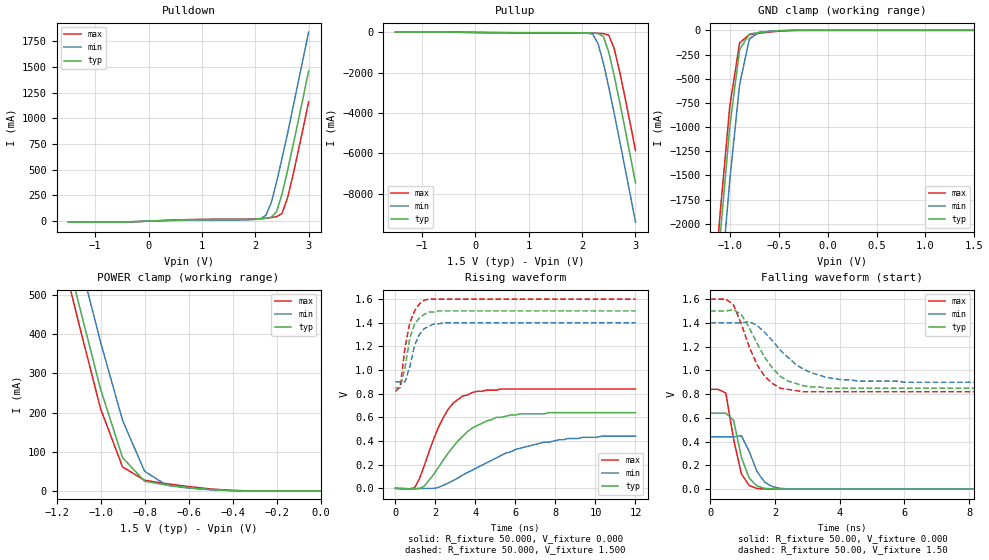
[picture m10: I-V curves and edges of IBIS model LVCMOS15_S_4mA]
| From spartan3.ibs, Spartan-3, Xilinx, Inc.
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|   Model LVCMOS15_S_4mA
[Model]   LVCMOS15_S_4mA
Model_type   I/O
Polarity   Non-Inverting
Enable   Active-Low
Vinl =   0.45V
Vinh =   1.05V
Vmeas =   0.90V
Cref =  0.000F
Rref =   1.00M
Vref =  0.000V
C_comp   6.38pF   4.60pF   8.23pF
[Temperature Range]   25.00   85.00   0.000
[Voltage Range]   1.50V   1.40V   1.60V
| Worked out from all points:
|   slope of the pulldown table from 0 to 0.225 V, typ, clamps not added: 50.3 ohm
|   slope of the pullup table from 0 to 0.225 V, typ, clamps not added: 42.2 ohm
|   GND clamp passes 1 mA (typ) near -0.39 V on its own axis
|   POWER clamp passes 1 mA (typ) near -0.41 V on its own axis
|   rising waveform, R_fixture 50.000, V_fixture 0.000: 20-80 % time 1.91ns typ, 3.44ns min, 1.26ns max; typ from 0 V to 0.64 V
|   rising waveform, R_fixture 50.000, V_fixture 1.500: 20-80 % time 496ps typ, 535ps min, 501ps max; typ from 0.85 V to 1.5 V
|   falling waveform, R_fixture 50.00, V_fixture 0.000: 20-80 % time 382ps typ, 463ps min, 364ps max; typ from 0.64 V to 0 V
|   falling waveform, R_fixture 50.00, V_fixture 1.50: 20-80 % time 879ps typ, 1.21ns min, 739ps max; typ from 1.5 V to 0.85 V
[Pulldown]
| voltage   I(typ)   I(min)   I(max)
-1.5V     -9.68mA    -7.44mA    -10.45mA
-400mV    -7.9mA     -6.07mA    -8.81mA
700mV     11.7mA     8.64mA     14.15mA
1.8V      15.66mA    11.96mA    19.33mA
2.1V      22.46mA    24.09mA    22.57mA
2.2V      28.45mA    56.11mA    27.79mA
2.3V      37.53mA    180mA      34.65mA
2.4V      92.3mA     380mA      43.03mA
2.5V      260mA      610mA      73.32mA
2.6V      480mA      840mA      220mA
2.7V      720mA      1.09A      430mA
3V        1.46A      1.84A      1.16A
[Pullup]
| voltage   I(typ)   I(min)   I(max)
-1.5V     15.79mA    11.59mA    18.27mA
1.9V      -16.08mA   -13.32mA   -22.04mA
2.1V      -25.43mA   -28.54mA   -27.32mA
2.2V      -34.52mA   -93.6mA    -35.54mA
2.3V      -49.83mA   -570mA     -46.31mA
2.4V      -210mA     -1.54A     -59.78mA
2.5V      -990mA     -2.73A     -140mA
2.6V      -2.14A     -4.01A     -800mA
2.7V      -3.41A     -5.33A     -1.91A
2.8V      -4.74A     -6.68A     -3.18A
3V        -7.47A     -9.42A     -5.86A
[GND_clamp]
| voltage   I(typ)   I(min)   I(max)
-1.5V     -7.46A     -8.04A     -7.23A
-1.2V     -3.41A     -4.01A     -3.17A
-1.1V     -2.14A     -2.73A     -1.9A
-1V       -990mA     -1.54A     -780mA
-900mV    -200mA     -560mA     -130mA
-800mV    -38.17mA   -87.3mA    -43.99mA
-700mV    -22.42mA   -20.38mA   -30.04mA
-500mV    -5.28mA    -4.03mA    -8.83mA
-300mV    -110uA     -110uA     -310uA
1.5V      9.56nA     570nA      9.92nA
[POWER_clamp]
| voltage   I(typ)   I(min)   I(max)
-1.5V     1.46A      1.59A      1.41A
-1.2V     710mA      840mA      660mA
-1.1V     480mA      600mA      430mA
-1V       260mA      380mA      210mA
-900mV    84.79mA    180mA      61.19mA
-800mV    24.88mA    50.29mA    27.26mA
-700mV    15.03mA    14.55mA    18.43mA
-600mV    8.66mA     7.1mA      11.09mA
-400mV    790uA      730uA      1.23mA
0V        9.56nA     48.83nA    13.86nA
[Ramp]
| variable   typ   min   max
dV/dt_r   0.38/1.93n   0.26/3.50n   0.50/1.28n
dV/dt_f   0.39/0.89n   0.30/1.20n   0.47/0.72n
R_load = 50.00
[Rising Waveform]
R_fixture = 50.000
V_fixture = 0.000
|  time   V(typ)   V(min)   V(max)
0s        0V         206uV      0V
960ps     -1.78mV    -3.431mV   4.68mV
1.44ns    18.6mV     -668.7uV   190mV
2.4ns     240mV      26.11mV    600mV
2.88ns    350mV      65.23mV    720mV
3.36ns    440mV      113.2mV    780mV
4.56ns    570mV      215.8mV    830mV
5.76ns    620mV      308.3mV    840mV
8.16ns    640mV      410.9mV    840mV
12ns      640mV      441.7mV    840mV
[Rising Waveform]
R_fixture = 50.000
V_fixture = 1.500
V_fixture_min = 1.400
V_fixture_max = 1.600
|  time   V(typ)   V(min)   V(max)
0s        850mV      900mV      820mV
240ps     850mV      900mV      860mV
480ps     1.02V      900mV      1.19V
720ps     1.27V      1.03V      1.4V
960ps     1.39V      1.21V      1.5V
1.2ns     1.44V      1.3V       1.56V
1.44ns    1.47V      1.35V      1.59V
1.92ns    1.49V      1.39V      1.6V
2.4ns     1.5V       1.4V       1.6V
12ns      1.5V       1.4V       1.6V
[Falling Waveform]
R_fixture = 50.00
V_fixture = 0.000
| time   V(typ)   V(min)   V(max)
0s        640mV      440mV      840mV
480ps     640mV      440mV      810mV
720ps     580mV      440mV      420mV
960ps     270mV      450mV      130mV
1.2ns     94.65mV    320mV      30.94mV
1.44ns    26.75mV    150mV      5.83mV
1.68ns    6.83mV     58.97mV    1.13mV
1.92ns    1.73mV     21.52mV    390uV
2.4ns     320uV      2.61mV     110uV
12ns      520nV      1.88uV     0V
[Falling Waveform]
R_fixture = 50.00
V_fixture = 1.50
V_fixture_min = 1.40
V_fixture_max = 1.60
| time   V(typ)   V(min)   V(max)
0s        1.5V       1.4V       1.6V
480ps     1.5V       1.4V       1.6V
720ps     1.51V      1.4V       1.55V
960ps     1.47V      1.4V       1.39V
1.44ns    1.23V      1.38V      1.05V
1.68ns    1.11V      1.32V      950mV
2.16ns    950mV      1.17V      850mV
2.88ns    870mV      1.01V      820mV
4.08ns    850mV      920mV      820mV
12ns      850mV      900mV      820mV
